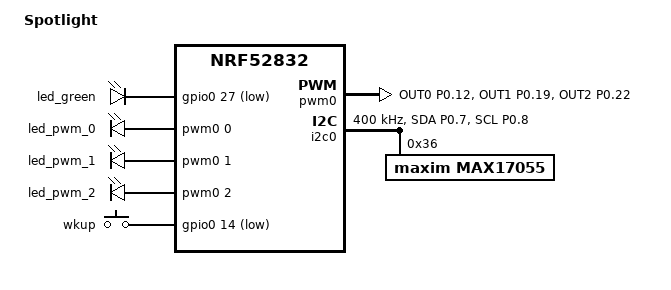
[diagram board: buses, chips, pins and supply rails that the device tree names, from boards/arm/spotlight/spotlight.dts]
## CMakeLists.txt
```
cmake_minimum_required(VERSION 3.20.0)

set(BOARD_ROOT ${CMAKE_CURRENT_LIST_DIR})
set(BOARD spotlight)

find_package(Zephyr REQUIRED HINTS $ENV{ZEPHYR_BASE})
project(spotlight)

FILE(GLOB app_sources src/*.c)
target_sources(app PRIVATE ${app_sources})
```

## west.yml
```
manifest:
  remotes:
    - name: zephyrproject-rtos
      url-base: https://github.com/zephyrproject-rtos

  projects:
    - name: zephyr
      remote: zephyrproject-rtos
      revision: main
      import:
        name-allowlist:
          - cmsis_6
          - hal_nordic
          - mcuboot
          - segger
          - tinycrypt
          - zcbor
```

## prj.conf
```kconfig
CONFIG_PM_DEVICE=y
CONFIG_GPIO=y
CONFIG_FPU=y
CONFIG_POWEROFF=y

CONFIG_MAIN_STACK_SIZE=2048
CONFIG_SYSTEM_WORKQUEUE_STACK_SIZE=4096

CONFIG_THREAD_NAME=y

# Logging

CONFIG_LOG=y
CONFIG_LOG_PROCESS_THREAD_SLEEP_MS=100
CONFIG_USE_SEGGER_RTT=y
CONFIG_RTT_CONSOLE=y
CONFIG_LOG_PROCESS_THREAD_STACK_SIZE=1024

# Devices

CONFIG_LED=y
CONFIG_PWM=y
CONFIG_I2C=y
CONFIG_SENSOR=y
CONFIG_INPUT=y

# Bluetooth

CONFIG_BT=y
CONFIG_BT_PERIPHERAL=y
CONFIG_BT_DEVICE_NAME="ZSpotlight"

CONFIG_BT_PERIPHERAL_PREF_MIN_INT=160
CONFIG_BT_PERIPHERAL_PREF_MAX_INT=200
CONFIG_BT_PERIPHERAL_PREF_LATENCY=0
CONFIG_BT_PERIPHERAL_PREF_TIMEOUT=500

CONFIG_BT_BAS=y

# MCUmgr

CONFIG_MCUBOOT_SIGNATURE_KEY_FILE="../git/spotlight/firmware/spotlight-key.pem"

CONFIG_ZCBOR=y
CONFIG_MCUMGR=y
CONFIG_BOOTLOADER_MCUBOOT=y
CONFIG_FLASH=y
CONFIG_STREAM_FLASH=y
CONFIG_FLASH_MAP=y
CONFIG_THREAD_MONITOR=y
CONFIG_MCUMGR_GRP_OS_TASKSTAT=y
CONFIG_MCUMGR_GRP_OS_TASKSTAT_STACK_INFO=y
CONFIG_MCUMGR_GRP_OS=y

CONFIG_MCUMGR_GRP_IMG=y
CONFIG_MCUMGR_GRP_ZBASIC=y
CONFIG_MCUMGR_GRP_ZBASIC_STORAGE_ERASE=y
CONFIG_IMG_MANAGER=y

CONFIG_BT_L2CAP_TX_MTU=498
CONFIG_BT_BUF_ACL_RX_SIZE=502
CONFIG_BT_BUF_ACL_TX_SIZE=502
CONFIG_BT_CTLR_DATA_LENGTH_MAX=251

CONFIG_MCUMGR_TRANSPORT_BT=y
CONFIG_MCUMGR_TRANSPORT_BT_CONN_PARAM_CONTROL=y

CONFIG_MCUMGR_TRANSPORT_BT_REASSEMBLY=y
CONFIG_MCUMGR_TRANSPORT_NETBUF_SIZE=2475
CONFIG_MCUMGR_GRP_OS_MCUMGR_PARAMS=y
```

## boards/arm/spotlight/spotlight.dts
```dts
/dts-v1/;
#include <nordic/nrf52832_qfaa.dtsi>
#include <zephyr/dt-bindings/input/input-event-codes.h>

/ {
	model = "Spotlight";
	compatible = "balto,spotlight";

	chosen {
		zephyr,sram = &sram0;
		zephyr,flash = &flash0;
		zephyr,code-partition = &slot0_partition;
	};

	leds {
		compatible = "gpio-leds";
		led_green {
			gpios = <&gpio0 27 GPIO_ACTIVE_LOW>;
		};
	};

	pwmleds {
		compatible = "pwm-leds";
		led_pwm_0 {
			pwms = <&pwm0 0 PWM_HZ(250) PWM_POLARITY_NORMAL>;
		};
		led_pwm_1 {
			pwms = <&pwm0 1 PWM_HZ(250) PWM_POLARITY_NORMAL>;
		};
		led_pwm_2 {
			pwms = <&pwm0 2 PWM_HZ(250) PWM_POLARITY_NORMAL>;
		};
	};

	buttons: buttons {
		compatible = "zephyr,gpio-keys";
		wkup: sw_0 {
			gpios = <&gpio0 14 (GPIO_PULL_UP | GPIO_ACTIVE_LOW)>;
			zephyr,code = <INPUT_KEY_0>;
		};
	};

	longpress: longpress {
		input = <&buttons>;
		compatible = "zephyr,input-longpress";
		input-codes = <INPUT_KEY_0>;
		short-codes = <INPUT_KEY_A>;
		long-codes = <INPUT_KEY_B>;
		long-delay-ms = <1000>;
	};

};

&pinctrl {
	pwm0_default: pwm0_default {
		group1 {
			psels = <NRF_PSEL(PWM_OUT0, 0, 12)>,
				<NRF_PSEL(PWM_OUT1, 0, 19)>,
				<NRF_PSEL(PWM_OUT2, 0, 22)>;
		};
	};

	pwm0_sleep: pwm0_sleep {
		group1 {
			psels = <NRF_PSEL(PWM_OUT0, 0, 12)>,
				<NRF_PSEL(PWM_OUT1, 0, 19)>,
				<NRF_PSEL(PWM_OUT2, 0, 22)>;
			low-power-enable;
		};
	};

	i2c0_default: i2c0_default {
		group1 {
			psels = <NRF_PSEL(TWIM_SDA, 0, 7)>,
				<NRF_PSEL(TWIM_SCL, 0, 8)>;
		};
	};

	i2c0_sleep: i2c0_sleep {
		group1 {
			psels = <NRF_PSEL(TWIM_SDA, 0, 7)>,
				<NRF_PSEL(TWIM_SCL, 0, 8)>;
			low-power-enable;
		};
	};
};

&gpiote {
	status = "okay";
};

&gpio0 {
	status = "okay";
};

&pwm0 {
	status = "okay";
	pinctrl-0 = <&pwm0_default>;
	pinctrl-1 = <&pwm0_sleep>;
	pinctrl-names = "default", "sleep";
};

&i2c0 {
	compatible = "nordic,nrf-twi";
	status = "okay";
	clock-frequency = <I2C_BITRATE_FAST>;
	pinctrl-0 = <&i2c0_default>;
	pinctrl-1 = <&i2c0_sleep>;
	pinctrl-names = "default", "sleep";

	max17055@36 {
		compatible = "maxim,max17055";
		reg = <0x36>;
		design-capacity = <1250>;
		design-voltage = <4200>;
		desired-voltage = <4200>;
		desired-charging-current = <500>;
		i-chg-term = <250>;
		rsense-mohms = <10>;
		v-empty = <2800>;
	};
};

&flash0 {
	partitions {
		compatible = "fixed-partitions";
		#address-cells = <1>;
		#size-cells = <1>;

		boot_partition: partition@0 {
			label = "mcuboot";
			reg = <0x00000000 0xc000>;
		};
		slot0_partition: partition@c000 {
			label = "image-0";
			reg = <0x0000c000 0x36000>;
		};
		slot1_partition: partition@42000 {
			label = "image-1";
			reg = <0x00042000 0x36000>;
		};
		scratch_partition: partition@78000 {
			label = "image-scratch";
			reg = <0x00078000 0x4000>;
		};
		storage_partition: partition@7c000 {
			label = "storage";
			reg = <0x0007c000 0x4000>;
		};
	};
};
```

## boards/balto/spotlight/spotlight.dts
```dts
/dts-v1/;
#include <nordic/nrf52832_qfaa.dtsi>
#include <zephyr/dt-bindings/input/input-event-codes.h>

/ {
	model = "Spotlight";
	compatible = "balto,spotlight";

	chosen {
		zephyr,sram = &sram0;
		zephyr,flash = &flash0;
		zephyr,code-partition = &slot0_partition;
	};

	leds {
		compatible = "gpio-leds";
		led_green {
			gpios = <&gpio0 27 GPIO_ACTIVE_LOW>;
		};
	};

	pwmleds {
		compatible = "pwm-leds";
		led_pwm_0 {
			pwms = <&pwm0 0 PWM_HZ(250) PWM_POLARITY_NORMAL>;
		};
		led_pwm_1 {
			pwms = <&pwm0 1 PWM_HZ(250) PWM_POLARITY_NORMAL>;
		};
		led_pwm_2 {
			pwms = <&pwm0 2 PWM_HZ(250) PWM_POLARITY_NORMAL>;
		};
	};

	buttons: buttons {
		compatible = "gpio-keys";
		wkup: sw_0 {
			gpios = <&gpio0 14 (GPIO_PULL_UP | GPIO_ACTIVE_LOW)>;
			zephyr,code = <INPUT_KEY_0>;
		};
	};

	longpress: longpress {
		input = <&buttons>;
		compatible = "zephyr,input-longpress";
		input-codes = <INPUT_KEY_0>;
		short-codes = <INPUT_KEY_A>;
		long-codes = <INPUT_KEY_B>;
		long-delay-ms = <1000>;
	};

};

&pinctrl {
	pwm0_default: pwm0_default {
		group1 {
			psels = <NRF_PSEL(PWM_OUT0, 0, 12)>,
				<NRF_PSEL(PWM_OUT1, 0, 19)>,
				<NRF_PSEL(PWM_OUT2, 0, 22)>;
		};
	};

	pwm0_sleep: pwm0_sleep {
		group1 {
			psels = <NRF_PSEL(PWM_OUT0, 0, 12)>,
				<NRF_PSEL(PWM_OUT1, 0, 19)>,
				<NRF_PSEL(PWM_OUT2, 0, 22)>;
			low-power-enable;
		};
	};

	i2c0_default: i2c0_default {
		group1 {
			psels = <NRF_PSEL(TWIM_SDA, 0, 7)>,
				<NRF_PSEL(TWIM_SCL, 0, 8)>;
		};
	};

	i2c0_sleep: i2c0_sleep {
		group1 {
			psels = <NRF_PSEL(TWIM_SDA, 0, 7)>,
				<NRF_PSEL(TWIM_SCL, 0, 8)>;
			low-power-enable;
		};
	};
};

&gpiote {
	status = "okay";
};

&gpio0 {
	status = "okay";
	sense-edge-mask = <0xffffffff>;
};

&pwm0 {
	status = "okay";
	pinctrl-0 = <&pwm0_default>;
	pinctrl-1 = <&pwm0_sleep>;
	pinctrl-names = "default", "sleep";
};

&i2c0 {
	compatible = "nordic,nrf-twi";
	status = "okay";
	clock-frequency = <I2C_BITRATE_FAST>;
	pinctrl-0 = <&i2c0_default>;
	pinctrl-1 = <&i2c0_sleep>;
	pinctrl-names = "default", "sleep";

	max17055@36 {
		compatible = "maxim,max17055";
		reg = <0x36>;
		design-capacity = <1250>;
		design-voltage = <4200>;
		desired-voltage = <4200>;
		desired-charging-current = <500>;
		i-chg-term = <250>;
		rsense-mohms = <10>;
		v-empty = <2800>;
	};
};

&flash0 {
	partitions {
		compatible = "fixed-partitions";
		#address-cells = <1>;
		#size-cells = <1>;

		boot_partition: partition@0 {
			label = "mcuboot";
			reg = <0x00000000 0xc000>;
		};
		slot0_partition: partition@c000 {
			label = "image-0";
			reg = <0x0000c000 0x36000>;
		};
		slot1_partition: partition@42000 {
			label = "image-1";
			reg = <0x00042000 0x36000>;
		};
		scratch_partition: partition@78000 {
			label = "image-scratch";
			reg = <0x00078000 0x4000>;
		};
		storage_partition: partition@7c000 {
			label = "storage";
			reg = <0x0007c000 0x4000>;
		};
	};
};
```

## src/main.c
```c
#include <zephyr/device.h>
#include <zephyr/devicetree.h>
#include <zephyr/drivers/led.h>
#include <zephyr/kernel.h>
#include <zephyr/logging/log.h>

#include "levels.h"
#include "state.h"

LOG_MODULE_REGISTER(main, LOG_LEVEL_INF);

#if DT_HAS_COMPAT_STATUS_OKAY(nordic_nrf52_dk_nrf52832)
#warning "building for nRF52DK"
#endif

struct state state;

static const struct device *leds = DEVICE_DT_GET_ONE(gpio_leds);

static K_TIMER_DEFINE(blink_sync, NULL, NULL);

static void battery_blink(void)
{
	int i;
	int blinks;

	blinks = CLAMP((state.soc / 25) + 1, 1, 4);
	for (i = 0; i < blinks; i++) {
		led_on(leds, 0);
		k_sleep(K_MSEC(10));
		led_off(leds, 0);
		k_sleep(K_MSEC(300));
	}
}

int main(void)
{
	if (!device_is_ready(leds)) {
		LOG_ERR("LED device is not ready");
		return 0;
	}

	levels_hello();

	k_timer_start(&blink_sync, K_SECONDS(3), K_SECONDS(3));

	for (;;) {
		if (state.mode != MODE_SHUTDOWN) {
			battery_blink();
		}
		k_timer_status_sync(&blink_sync);
	}

	return 0;
}
```

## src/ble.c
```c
#include <zephyr/bluetooth/bluetooth.h>
#include <zephyr/bluetooth/conn.h>
#include <zephyr/bluetooth/gatt.h>
#include <zephyr/bluetooth/hci.h>
#include <zephyr/bluetooth/services/bas.h>
#include <zephyr/bluetooth/services/hrs.h>
#include <zephyr/bluetooth/uuid.h>
#include <zephyr/init.h>
#include <zephyr/kernel.h>
#include <zephyr/logging/log.h>
#include <zephyr/mgmt/mcumgr/transport/smp_bt.h>

#include "ble.h"
#include "input.h"
#include "state.h"

LOG_MODULE_REGISTER(ble, LOG_LEVEL_INF);

#define DEVICE_NAME     CONFIG_BT_DEVICE_NAME
#define DEVICE_NAME_LEN (sizeof(DEVICE_NAME) - 1)

static const struct bt_data ad[] = {
	BT_DATA_BYTES(BT_DATA_FLAGS, (BT_LE_AD_GENERAL | BT_LE_AD_NO_BREDR)),
	BT_DATA(BT_DATA_NAME_COMPLETE, DEVICE_NAME, DEVICE_NAME_LEN),
};

static struct bt_le_adv_param ad_param = BT_LE_ADV_PARAM_INIT(
		BT_LE_ADV_OPT_CONN,
		BT_GAP_ADV_SLOW_INT_MIN, BT_GAP_ADV_SLOW_INT_MAX, NULL);

static uint8_t sl_status[8];
static bool notify_enabled;

static void sl_ccc_cfg_changed(const struct bt_gatt_attr *attr,
			       uint16_t value)
{
	ARG_UNUSED(attr);

	notify_enabled = (value == BT_GATT_CCC_NOTIFY);

	LOG_INF("notify_enabled: %d", notify_enabled);
}

static ssize_t read_sl_status(struct bt_conn *conn,
			      const struct bt_gatt_attr *attr, void *buf,
			      uint16_t len, uint16_t offset)
{
	return bt_gatt_attr_read(conn, attr, buf, len, offset, &sl_status,
				 sizeof(sl_status));
}

static ssize_t write_sl_active(struct bt_conn *conn,
			       const struct bt_gatt_attr *attr,
			       const void *buf,
			       uint16_t len, uint16_t offset, uint8_t flags)
{
	const uint8_t *val;

	if (len != 1) {
		LOG_WRN("write: invalid data len: %d", len);
		return BT_GATT_ERR(BT_ATT_ERR_INVALID_ATTRIBUTE_LEN);
	}

	if (offset != 0) {
		LOG_DBG("write: invalid offset: %d", offset);
		return BT_GATT_ERR(BT_ATT_ERR_INVALID_OFFSET);
	}

	val = buf;

	LOG_INF("write: %x", *val);
	switch_auto(*val);

	return len;
}


#define BT_UUID_SL \
	BT_UUID_DECLARE_128(BT_UUID_128_ENCODE( \
		0x0000fab0, 0x9736, 0x46e5, 0x872a, 0x8a46449faa91))

#define BT_UUID_SL_STATUS \
	BT_UUID_DECLARE_128(BT_UUID_128_ENCODE( \
		0x0000fab1, 0x9736, 0x46e5, 0x872a, 0x8a46449faa91))

#define BT_UUID_SL_ACTIVE \
	BT_UUID_DECLARE_128(BT_UUID_128_ENCODE( \
		0x0000fab2, 0x9736, 0x46e5, 0x872a, 0x8a46449faa91))

BT_GATT_SERVICE_DEFINE(sl,
	BT_GATT_PRIMARY_SERVICE(BT_UUID_SL),
	BT_GATT_CHARACTERISTIC(BT_UUID_SL_STATUS,
			       BT_GATT_CHRC_READ | BT_GATT_CHRC_NOTIFY,
			       BT_GATT_PERM_READ,
			       read_sl_status, NULL,
			       sl_status),
	BT_GATT_CCC(sl_ccc_cfg_changed, BT_GATT_PERM_READ | BT_GATT_PERM_WRITE),
	BT_GATT_CHARACTERISTIC(BT_UUID_SL_ACTIVE,
			       BT_GATT_CHRC_WRITE,
			       BT_GATT_PERM_WRITE,
			       NULL, write_sl_active, NULL),
);

void ble_update(void)
{
	sl_status[0] = (state.mode << 4) | state.level; // Mode + Level
	sl_status[1] = state.soc; // State of charge
	sl_status[2] = state.temp; // Temperature (C)
	sl_status[3] = state.tte; // Time to empty
	sl_status[4] = state.dc; // Duty Cycle Target
	sl_status[5] = state.batt_mv & 0xff; // Battery voltage (mV)
	sl_status[6] = state.batt_mv >> 8;
	sl_status[7] = 0;

	if (notify_enabled) {
		bt_gatt_notify(NULL, &sl.attrs[1], sl_status, sizeof(sl_status));
	}

	bt_bas_set_battery_level(state.soc);
}

static int ble_setup(void)
{
	int err;

	err = bt_enable(NULL);
	if (err) {
		LOG_ERR("Bluetooth init failed (err %d)", err);
		return 0;
	}

	err = bt_le_adv_start(&ad_param, ad, ARRAY_SIZE(ad), NULL, 0);
	if (err) {
		LOG_ERR("Advertising failed to start (err %d)", err);
		return 0;
	}

	return 0;
}

SYS_INIT(ble_setup, APPLICATION, 91);
```

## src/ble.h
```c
void ble_update(void);
```

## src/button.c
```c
#include <zephyr/device.h>
#include <zephyr/input/input.h>
#include <zephyr/logging/log.h>

#include "input.h"

LOG_MODULE_REGISTER(button, LOG_LEVEL_INF);

static const struct device *const input_dev = DEVICE_DT_GET(DT_NODELABEL(longpress));

static void input_cb(struct input_event *evt, void *user_data)
{
	if (evt->type != INPUT_EV_KEY) {
		return;
	}

	if (!evt->value) {
		return;
	}

	switch (evt->code) {
	case INPUT_KEY_A:
		switch_short();
		break;
	case INPUT_KEY_B:
		switch_long();
		break;
	default:
		LOG_INF("unknown code: %d", evt->code);
	}
}
INPUT_CALLBACK_DEFINE(input_dev, input_cb, NULL);
```

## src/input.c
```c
#include <zephyr/kernel.h>
#include <zephyr/logging/log.h>

#include "input.h"
#include "levels.h"
#include "state.h"

LOG_MODULE_REGISTER(app_input, LOG_LEVEL_INF);

static K_TIMER_DEFINE(delay, NULL, NULL);

void switch_short(void)
{
	bool delay_expired;

	if (state.mode == MODE_STANDBY)
		return;

	delay_expired = k_timer_status_get(&delay) > 0;

	if (delay_expired && state.mode == MODE_MANUAL && state.level == LEVEL_HIGH) {
		state.level = LEVEL_MEDIUM;
	} else if (delay_expired && state.mode == MODE_MANUAL && state.level == LEVEL_BEAM) {
		state.level = LEVEL_MEDIUM;
	} else if (state.mode == MODE_MANUAL && state.level == LEVEL_BEAM) {
		state.mode = MODE_AUTO;
		state.level = LEVEL_LOW;
	} else if (state.mode == MODE_MANUAL) {
		state.level++;
	} else if (state.mode == MODE_AUTO) {
		state.mode = MODE_MANUAL;
		state.level = LEVEL_MEDIUM;
	} else {
		LOG_ERR("I should not be here");
	}

	levels_apply_state();

	k_timer_start(&delay, K_SECONDS(2), K_NO_WAIT);
}

void switch_long(void)
{
	if (state.mode == MODE_STANDBY) {
		state.mode = MODE_MANUAL;
		state.level = LEVEL_LOW;
	} else {
		state.mode = MODE_STANDBY;
		state.level = LEVEL_OFF;
	}

	levels_apply_state();
}

void switch_auto(uint8_t active)
{
	uint8_t new_level;

	if (state.mode != MODE_AUTO) {
		LOG_INF("RX discard, not in auto");
		return;
	}
	LOG_INF("active: %d ", active);

	if (active) {
		new_level = LEVEL_HIGH;
	} else {
		new_level = LEVEL_OFF;
	}

	if (new_level == state.level) {
		return;
	}

	state.level = new_level;

	levels_apply_state();
}
```

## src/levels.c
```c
#include <zephyr/device.h>
#include <zephyr/devicetree.h>
#include <zephyr/drivers/led.h>
#include <zephyr/kernel.h>
#include <zephyr/logging/log.h>

#include "levels.h"
#include "state.h"

LOG_MODULE_REGISTER(levels, LOG_LEVEL_INF);

static const struct device *pwm_leds = DEVICE_DT_GET_ONE(pwm_leds);

static uint8_t tgt_levels[] = {0, 0, 0};
static uint8_t cur_levels[] = {0, 0, 0};

static struct level {
	uint8_t a, b, c;
} levels[] = {
	/* S    O  Red */
	{  0,   0,   0}, // 0 - Off
	{  1,   0,   0}, // 1 - Low
	{ 25,  25,   0}, // 2 - Medium
	{100, 100,   0}, // 3 - High
	{  0,   0, 100}, // 4 - Red
};

static void pwm_adjust_step(uint8_t *from, uint8_t to)
{
	uint8_t step;
	uint8_t delta;

	if (*from == to)
		return;

	if (*from > to)
		delta = *from - to;
	else
		delta = to - *from;

	if (delta < 10)
		step = 1;
	else if (delta < 30)
		step = 5;
	else
		step = 10;

	if (*from > to)
		*from -= step;
	else
		*from += step;
}

static void pwm_timer_handler(struct k_work *work);

static K_WORK_DELAYABLE_DEFINE(pwm_dwork, pwm_timer_handler);

static void pwm_update(void)
{
	if (memcmp(tgt_levels, cur_levels, sizeof(tgt_levels)) == 0)
		return;

	k_work_reschedule(&pwm_dwork, K_MSEC(20));
}

static void pwm_timer_handler(struct k_work *work)
{
	pwm_adjust_step(&cur_levels[0], tgt_levels[0]);
	pwm_adjust_step(&cur_levels[1], tgt_levels[1]);
	pwm_adjust_step(&cur_levels[2], tgt_levels[2]);

	led_set_brightness(pwm_leds, 0, cur_levels[0]);
	led_set_brightness(pwm_leds, 1, cur_levels[1]);
	led_set_brightness(pwm_leds, 2, cur_levels[2]);

	LOG_INF("levels: %3d %3d %3d",
		cur_levels[0], cur_levels[1], cur_levels[2]);

	pwm_update();
}

void levels_apply_state(void)
{
	LOG_INF("state mode: %d level: %d", state.mode, state.level);

	if (state.level == LEVEL_MEDIUM && state.level == LEVEL_HIGH) {
		tgt_levels[0] = state.dc;
		tgt_levels[1] = state.dc;
		tgt_levels[2] = 0;
	} else {
		memcpy(tgt_levels, &levels[state.level], sizeof(tgt_levels));
	}

	pwm_update();
}

void levels_hello(void)
{
	led_set_brightness(pwm_leds, 0, 1);
	k_sleep(K_MSEC(100));
	led_set_brightness(pwm_leds, 0, 0);
	led_set_brightness(pwm_leds, 1, 1);
	k_sleep(K_MSEC(100));
	led_set_brightness(pwm_leds, 1, 0);
	led_set_brightness(pwm_leds, 2, 100);
	k_sleep(K_MSEC(100));
	led_set_brightness(pwm_leds, 2, 0);
}
```

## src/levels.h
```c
void levels_apply_state(void);
void levels_hello(void);
```

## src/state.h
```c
#include <stdint.h>

enum {
	MODE_STANDBY = 0,
	MODE_MANUAL = 1,
	MODE_AUTO = 2,
	MODE_SHUTDOWN = 0xf,
};

enum {
	LEVEL_OFF = 0,
	LEVEL_LOW = 1,
	LEVEL_MEDIUM = 2,
	LEVEL_HIGH = 3,
	LEVEL_BEAM = 4,
	NUM_LEVELS = 5,
};

struct state {
	uint8_t mode;
	uint8_t level;
	uint16_t batt_mv;
	uint8_t soc;
	int8_t temp;
	uint8_t tte;
	uint8_t dc;
};

extern struct state state;
```

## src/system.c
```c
#include <zephyr/device.h>
#include <zephyr/devicetree.h>
#include <zephyr/drivers/gpio.h>
#include <zephyr/drivers/sensor.h>
#include <zephyr/drivers/sensor/max17055.h>
#include <zephyr/kernel.h>
#include <zephyr/logging/log.h>
#include <zephyr/sys/poweroff.h>

#include "ble.h"
#include "levels.h"
#include "state.h"

LOG_MODULE_REGISTER(system, LOG_LEVEL_INF);

static K_TIMER_DEFINE(system_sync, NULL, NULL);

#define SHUTDOWN_DELAY (60 * 30)

static const struct device *fuel_gauge = DEVICE_DT_GET_ONE(maxim_max17055);
static const struct device *temp = DEVICE_DT_GET_ONE(nordic_nrf_temp);

static const struct gpio_dt_spec wkup = GPIO_DT_SPEC_GET(DT_NODELABEL(wkup), gpios);

static void maybe_shutdown(void)
{
	static uint16_t shutdown_counter = SHUTDOWN_DELAY;

	if (state.mode != MODE_STANDBY) {
		shutdown_counter = SHUTDOWN_DELAY;
		return;
	}

	LOG_INF("shutdown_counter: %d", shutdown_counter);
	if (shutdown_counter--)
		return;

	LOG_INF("initiate shutdown");

	gpio_pin_configure_dt(&wkup, GPIO_INPUT);
	gpio_pin_interrupt_configure_dt(&wkup, GPIO_INT_LEVEL_ACTIVE);

	state.mode = MODE_SHUTDOWN;

	k_sleep(K_SECONDS(3));

	sys_poweroff();
}

#define RESERVE_MV 2800
static void maybe_reserve(void)
{
	if (state.level != LEVEL_HIGH)
		return;

	if (state.batt_mv > RESERVE_MV)
		return;

	state.level = LEVEL_MEDIUM;
	levels_apply_state();
}

static void fuel_gauge_update(void)
{
	struct sensor_value val;
	int32_t tte;

	sensor_sample_fetch_chan(fuel_gauge, SENSOR_CHAN_GAUGE_STATE_OF_CHARGE);
	sensor_sample_fetch_chan(fuel_gauge, SENSOR_CHAN_MAX17055_VFOCV);
	sensor_sample_fetch_chan(fuel_gauge, SENSOR_CHAN_GAUGE_TIME_TO_EMPTY);

	sensor_channel_get(fuel_gauge, SENSOR_CHAN_GAUGE_STATE_OF_CHARGE, &val);
	state.soc = val.val1;

	sensor_channel_get(fuel_gauge, SENSOR_CHAN_MAX17055_VFOCV, &val);
	state.batt_mv = val.val1 * 1000 + val.val2 / 1000;

	sensor_channel_get(fuel_gauge, SENSOR_CHAN_GAUGE_TIME_TO_EMPTY, &val);
	tte = val.val1;
	if (tte > UINT8_MAX)
		state.tte = UINT8_MAX;
	else
		state.tte = tte;
}

static void temp_update(void)
{
	struct sensor_value val;

	sensor_sample_fetch(temp);

	sensor_channel_get(temp, SENSOR_CHAN_DIE_TEMP, &val);

	state.temp = val.val1;
}

#define R_BATT 0.36f
#define V_LED_EQ 2.70f
#define R_LED_EQ 0.50f
#define R_SHUNT 0.7f
#define P_TARGET_HIGH 1.5f
#define P_TARGET_LOW 0.75f
static void dc_update(void)
{
	float vbatt;
	float i;
	float pled100;
	float dc;
	float p_target;

	if (state.level == LEVEL_HIGH)
		p_target = P_TARGET_HIGH;
	else
		p_target = P_TARGET_LOW;

	vbatt = state.batt_mv;
	i = (vbatt / 1000.0f - V_LED_EQ) / (R_BATT + R_LED_EQ + R_SHUNT);
	pled100 = (V_LED_EQ + R_LED_EQ * i) * i;
	dc = p_target / pled100 * 100;

	if (dc > 100)
		dc = 100;

	state.dc = dc;
}

static void system_loop(void)
{
	maybe_shutdown();
	maybe_reserve();
	fuel_gauge_update();
	temp_update();
	dc_update();
	ble_update();

	levels_apply_state();

}

static void system_thread(void)
{
	if (!device_is_ready(fuel_gauge)) {
		LOG_ERR("fuel gauge device is not ready");
		return;
	}

	if (!device_is_ready(temp)) {
		LOG_ERR("temp device is not ready");
		return;
	}

	k_timer_start(&system_sync, K_SECONDS(1), K_SECONDS(1));

	for (;;) {
		system_loop();
		k_timer_status_sync(&system_sync);
	}
}

K_THREAD_DEFINE(sys, 1024, system_thread, NULL, NULL, NULL, 7, 0, 0);
```
